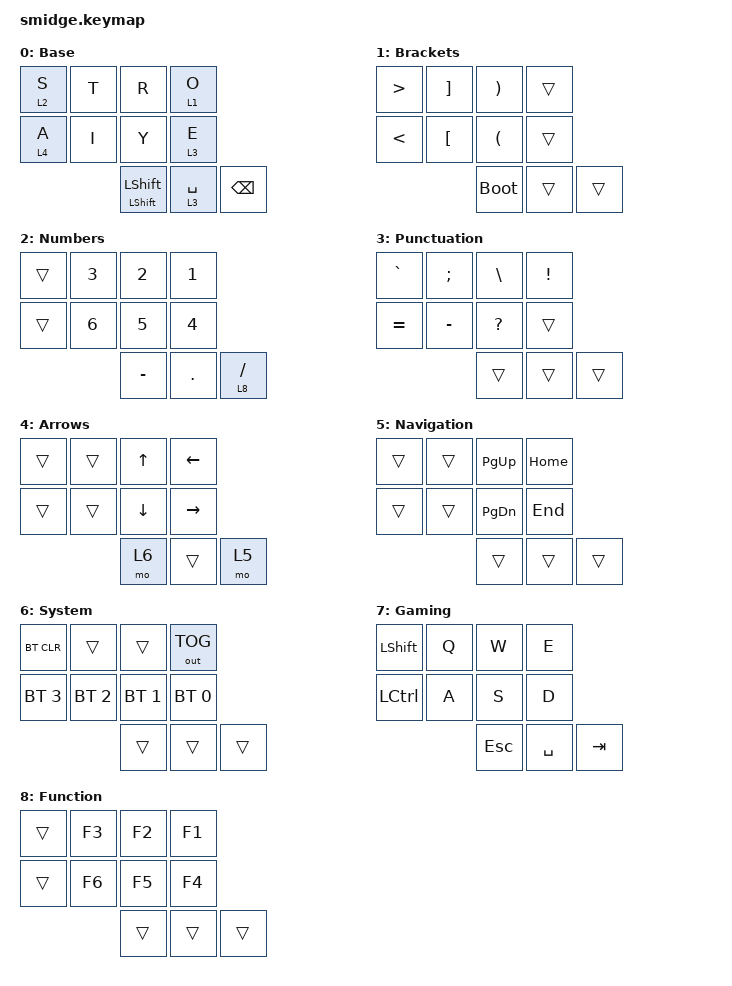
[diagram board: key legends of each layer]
/*
 * Copyright (c) 2020 The ZMK Contributors
 *
 * SPDX-License-Identifier: MIT
 */

#include <behaviors.dtsi>
#include <dt-bindings/zmk/bt.h>
#include <dt-bindings/zmk/keys.h>
#include <dt-bindings/zmk/outputs.h>

&mt { tapping-term-ms = <200>; };

&lt { quick-tap-ms = <400>; };

&sk { release-after-ms = <2500>; };

/ {
    combos {
        compatible = "zmk,combos";

        combo_b {
            bindings = <&kp B>;
            key-positions = <4 7>;
            layers = <0>;
        };

        combo_c {
            bindings = <&kp C>;
            key-positions = <6 7>;
            layers = <0>;
        };

        combo_d {
            bindings = <&kp D>;
            key-positions = <1 2 3>;
            layers = <0>;
        };

        combo_f {
            bindings = <&kp F>;
            key-positions = <2 3>;
            layers = <0>;
        };

        combo_g {
            bindings = <&kp G>;
            key-positions = <1 2>;
            layers = <0>;
        };

        combo_h {
            bindings = <&kp H>;
            key-positions = <5 7>;
            layers = <0>;
        };

        combo_j {
            bindings = <&kp J>;
            key-positions = <0 1>;
            layers = <0>;
        };

        combo_k {
            bindings = <&kp K>;
            key-positions = <4 6>;
            layers = <0>;
        };

        combo_l {
            bindings = <&kp L>;
            key-positions = <5 6 7>;
            layers = <0>;
        };

        combo_m {
            bindings = <&kp M>;
            key-positions = <4 5 6>;
            layers = <0>;
        };

        combo_n {
            bindings = <&kp N>;
            key-positions = <4 5>;
            layers = <0>;
        };

        combo_p {
            bindings = <&kp P>;
            key-positions = <4 7 5>;
            layers = <0>;
        };

        combo_q {
            bindings = <&kp Q>;
            key-positions = <0 1 3>;
            layers = <0>;
        };

        combo_u {
            bindings = <&kp U>;
            key-positions = <5 6>;
            layers = <0>;
        };

        combo_v {
            bindings = <&kp V>;
            key-positions = <0 2>;
            layers = <0>;
        };

        combo_w {
            bindings = <&kp W>;
            key-positions = <0 3>;
            layers = <0>;
        };

        combo_x {
            bindings = <&kp X>;
            key-positions = <0 1 2>;
            layers = <0>;
        };

        combo_z {
            bindings = <&kp Z>;
            key-positions = <0 1 2 3>;
            layers = <0>;
        };

        combo_ret {
            bindings = <&kp ENTER>;
            key-positions = <3 7>;
            layers = <0>;
        };

        combo_esc {
            bindings = <&kp ESC>;
            key-positions = <4 2 3>;
            layers = <0>;
        };

        combo_tab {
            bindings = <&kp TAB>;
            key-positions = <4 1 2 3>;
            layers = <0>;
        };

        combo_sk_ctrl {
            bindings = <&ht_kp_sk LCTRL LCTRL>;
            key-positions = <0 7>;
            layers = <0>;
        };

        combo_sk_gui {
            bindings = <&ht_kp_sk LEFT_GUI LEFT_GUI>;
            key-positions = <0 6>;
            layers = <0>;
        };

        combo_sk_alt {
            bindings = <&ht_kp_sk LALT LALT>;
            key-positions = <0 5>;
            layers = <0>;
        };

        combo_sk_shft {
            bindings = <&ht_kp_sk LSHFT LSHFT>;
            key-positions = <0 1 2 7>;
            layers = <0>;
        };

        combo_caps_word {
            bindings = <&caps_word>;
            key-positions = <2 6>;
            layers = <0>;
        };

        combo_caps {
            bindings = <&kp CAPS>;
            key-positions = <4 5 6 3>;
            layers = <0>;
        };

        combo_space {
            bindings = <&kp SPACE>;
            key-positions = <4 5 6 7>;
            layers = <0>;
        };

        combo_bspc {
            bindings = <&kp BSPC>;
            key-positions = <2 7>;
            layers = <0>;
        };

        combo_del {
            bindings = <&kp DEL>;
            key-positions = <2 5>;
            layers = <0>;
        };

        combo_comma {
            bindings = <&kp COMMA>;
            key-positions = <5 3>;
        };

        combo_dot {
            bindings = <&kp DOT>;
            key-positions = <3 6>;
        };

        combo_apos {
            bindings = <&kp APOS>;
            key-positions = <5 6 3>;
            layers = <0>;
        };

        combo_slash {
            bindings = <&kp SLASH>;
            key-positions = <3 4>;
        };

        combo_excl {
            bindings = <&kp EXCL>;
            key-positions = <1 5>;
            layers = <0>;
        };

        combo_7 {
            bindings = <&kp N7>;
            key-positions = <2 3>;
            layers = <2>;
        };

        combo_8 {
            bindings = <&kp N8>;
            key-positions = <2 1>;
            layers = <2>;
        };

        combo_9 {
            bindings = <&kp N9>;
            key-positions = <6 7>;
            layers = <2>;
        };

        combo_0 {
            bindings = <&kp N0>;
            key-positions = <5 6>;
            layers = <2>;
        };

        combo_f7 {
            bindings = <&kp F7>;
            key-positions = <2 3>;
            layers = <8>;
        };

        combo_f8 {
            bindings = <&kp F8>;
            key-positions = <1 2>;
            layers = <8>;
        };

        combo_f9 {
            bindings = <&kp F9>;
            key-positions = <6 7>;
            layers = <8>;
        };

        combo_f10 {
            bindings = <&kp F10>;
            key-positions = <5 6>;
            layers = <8>;
        };

        combo_f11 {
            bindings = <&kp F11>;
            key-positions = <1 2 3>;
            layers = <8>;
        };

        combo_f12 {
            bindings = <&kp F12>;
            key-positions = <5 6 7>;
            layers = <8>;
        };

        combo_tg_game {
            bindings = <&tog 7>;
            key-positions = <4 5 6 7 9>;
            layers = <0 7>;
        };

        combo_bootloader {
            bindings = <&bootloader>;
            key-positions = <4 7>;
            layers = <6>;
        };
    };

    behaviors {
        ht_kp_sk: ht_kp_sk {
            compatible = "zmk,behavior-hold-tap";
            label = "HT_KP_SK";
            bindings = <&kp>, <&sk>;

            #binding-cells = <2>;
            tapping-term-ms = <200>;
            flavor = "balanced";
        };

        skq: skq {
            compatible = "zmk,behavior-sticky-key";
            label = "SKQ";
            bindings = <&kp>;
            #binding-cells = <1>;
            quick-release;
            ignore-modifiers;
            release-after-ms = <2500>;
        };

        ht_kp_skq: ht_kp_skq {
            compatible = "zmk,behavior-hold-tap";
            label = "HT_KP_SKQ";
            bindings = <&kp>, <&skq>;

            #binding-cells = <2>;
            tapping-term-ms = <200>;
            flavor = "balanced";
        };

        q_esc_mo3: q_esc_mo3 {
            compatible = "zmk,behavior-tap-dance";
            label = "Q_ESC_MO3";
            #binding-cells = <0>;
            bindings = <&lt 3 Q>, <&kp ESC>;
        };
    };

    keymap {
        compatible = "zmk,keymap";

        Base {
            bindings = <
  &lt 2 S  &kp T  &kp R                   &lt 1 O
  &lt 4 A  &kp I  &kp Y                   &lt 3 E
                  &ht_kp_skq LSHFT LSHFT  &lt 3 SPACE  &kp BACKSPACE
            >;
        };

        Brackets {
            bindings = <
  &kp GREATER_THAN  &kp RIGHT_BRACKET  &kp RIGHT_PARENTHESIS  &trans
  &kp LESS_THAN     &kp LEFT_BRACKET   &kp LEFT_PARENTHESIS   &trans
                                       &bootloader            &trans  &trans
            >;
        };

        Numbers {
            bindings = <
  &trans  &kp N3  &kp N2     &kp N1
  &trans  &kp N6  &kp N5     &kp N4
                  &kp MINUS  &kp DOT  &lt 8 SLASH
            >;
        };

        Punctuation {
            bindings = <
  &kp GRAVE  &kp SEMI   &kp BSLH      &kp EXCLAMATION
  &kp EQUAL  &kp MINUS  &kp QUESTION  &trans
                        &trans        &trans           &trans
            >;
        };

        Arrows {
            bindings = <
  &trans  &trans  &kp UP    &kp LEFT
  &trans  &trans  &kp DOWN  &kp RIGHT
                  &mo 6     &trans     &mo 5
            >;
        };

        Navigation {
            bindings = <
  &trans  &trans  &kp PG_UP  &kp HOME
  &trans  &trans  &kp PG_DN  &kp END
                  &trans     &trans    &trans
            >;
        };

        System {
            bindings = <
  &bt BT_CLR    &trans        &trans        &out OUT_TOG
  &bt BT_SEL 3  &bt BT_SEL 2  &bt BT_SEL 1  &bt BT_SEL 0
                              &trans        &trans        &trans
            >;
        };

        Gaming {
            bindings = <
  &kp LSHFT  &kp Q  &kp W    &kp E
  &kp LCTRL  &kp A  &kp S    &kp D
                    &kp ESC  &kp SPACE  &kp TAB
            >;
        };

        Function {
            bindings = <
  &trans  &kp F3  &kp F2  &kp F1
  &trans  &kp F6  &kp F5  &kp F4
                  &trans  &trans  &trans
            >;
        };
    };
};
